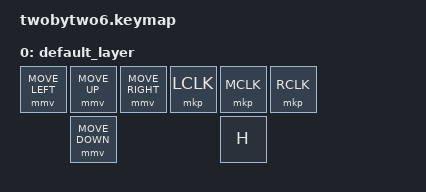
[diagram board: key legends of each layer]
#include <behaviors.dtsi>
#include <dt-bindings/zmk/keys.h>
#include <dt-bindings/zmk/mouse.h>

/ {

  keymap {
    compatible = "zmk,keymap";
  default_layer {

// +-----+-----+-----+   +-----+-----+-----+
// |  A  |  B  |  C  |   |  D  |  E  |  F  |
// +-----+-----+-----+   +-----+-----+-----+
// |        G        |   |        H        |
// +-----------------+   +-----------------+

    bindings = <
           &mmv MOVE_LEFT  &mmv MOVE_UP  &mmv MOVE_RIGHT  &mkp LCLK   &mkp MCLK   &mkp RCLK
                           &mmv MOVE_DOWN                            &kp H
    >;

    };
  };
};
